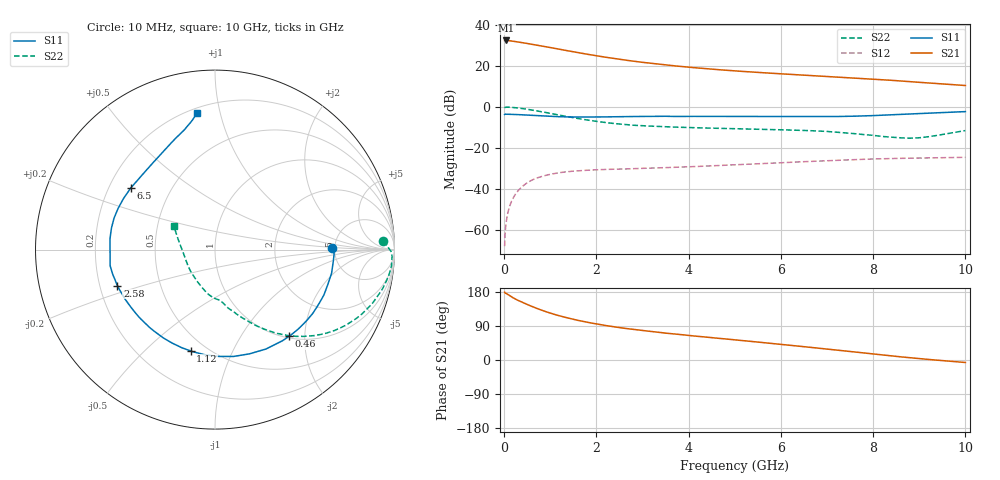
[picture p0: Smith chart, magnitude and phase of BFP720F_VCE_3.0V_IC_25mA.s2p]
! Infineon Technologies  Discrete & RF Semiconductors
! BFP720F
! VCE =  3.0 V,  IC =  25 mA
! Common Emitter S-Parameters:  Jan 2016
# GHz  S  MA  R  50
!  f  S11  S21  S12  S22
! GHz  MAG  ANG  MAG  ANG  MAG  ANG  MAG  ANG
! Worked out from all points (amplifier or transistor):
!   233 points, 10 MHz to 10 GHz, reference 50 ohm
!   highest |S21| = 32.4 dB at 50 MHz (marker M1)
!   |S21| within 3 dB of that: start of sweep to 894.2 MHz
!   unconditionally stable (mu >= 1): start of sweep to 14.38 MHz; 5.032 GHz to end of sweep
!   at 200 MHz: K = 0.11, MSG = 38.2 dB, |S12| = -44.3 dB
!   at 1.74 GHz: K = 0.49, MSG = 28.5 dB, |S12| = -31.0 dB
!   at 10 GHz: K = 1.17, MAG = 15.0 dB, |S12| = -24.6 dB
!   S11 on the Smith chart (normalised r, x): 10 MHz: 4.75, +0.11; 460 MHz: 1.03, -1.67; 1.12 GHz: 0.41, -0.70; 2.58 GHz: 0.27, -0.17; 6.5 GHz: 0.29, +0.30; 10 GHz: 0.23, +0.85
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0.01  0.6521 0.6  41.79 178.9  0.0004 81.6  0.9394 3.0
0.02  0.6644 -2.0  41.84 176.7  0.0008 101.4  0.9806 -0.6
0.05  0.6622 -5.6  41.86 175.4  0.0017 88.1  0.9873 -2.1
0.1  0.6628 -11.4  41.58 171.2  0.0032 83.3  0.9874 -5.3
0.15  0.6582 -17.1  40.71 167.2  0.0047 81.5  0.9795 -8.3
0.24  0.6534 -26.9  39.36 161.1  0.0073 77.7  0.9583 -13.2
0.36  0.6442 -39.5  37.43 153.9  0.0106 72.0  0.9238 -19.3
0.46  0.6354 -49.4  35.97 148.4  0.0131 67.7  0.8918 -23.9
0.6  0.6225 -62.8  34 141.3  0.0163 62.1  0.8416 -30.1
0.8  0.6042 -80.1  31 132.0  0.0199 55.2  0.7688 -37.6
1.12  0.5806 -103.5  26.53 119.3  0.0241 46.4  0.6556 -47.4
1.38  0.5704 -119.1  23.43 110.8  0.0263 41.2  0.5774 -53.7
1.68  0.5656 -133.6  20.39 102.5  0.028 36.8  0.5031 -59.7
2.06  0.5686 -147.1  17.31 93.9  0.0294 33.0  0.435 -65.6
2.58  0.5798 -159.7  14.12 84.2  0.0306 30.3  0.3745 -71.9
3.4  0.5897 -170.2  10.89 72.4  0.0327 29.5  0.3314 -77.6
4  0.5881 174.3  9.304 64.7  0.0346 29.5  0.3134 -79.7
5.1  0.5883 161.6  7.44 52.0  0.039 29.7  0.2907 -83.1
6.5  0.5814 143.8  5.973 35.1  0.0461 27.6  0.2676 -92.4
6.8  0.5794 139.1  5.705 31.4  0.0477 26.7  0.258 -95.9
8.4  0.6426 112.3  4.457 10.8  0.0551 20.0  0.1824 -137.7
10  0.7683 97.5  3.329 -6.6  0.0589 13.8  0.2648 150.1
